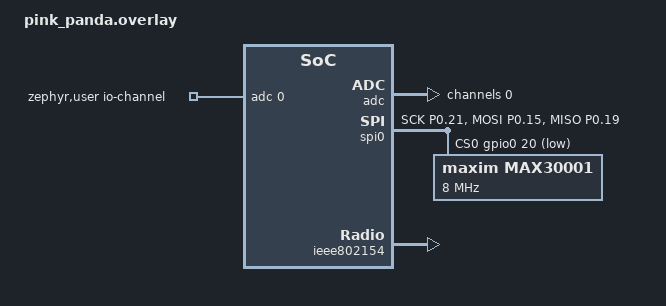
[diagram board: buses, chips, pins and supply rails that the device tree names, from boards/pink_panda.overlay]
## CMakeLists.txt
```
list(APPEND OVERLAY_CONFIG "coap-client.conf")
list(APPEND OVERLAY_CONFIG "openthread.conf")
list(APPEND OVERLAY_CONFIG "secret.conf")

cmake_minimum_required(VERSION 3.20.0)
list(APPEND BOARD_ROOT ${CMAKE_CURRENT_SOURCE_DIR})
find_package(Zephyr REQUIRED HINTS $ENV{ZEPHYR_BASE})

execute_process(COMMAND git describe
                WORKING_DIRECTORY ${CMAKE_CURRENT_SOURCE_DIR}
                OUTPUT_VARIABLE GIT_DESCRIBE
                ERROR_QUIET)
string(STRIP "${GIT_DESCRIBE}" GIT_DESCRIBE)
STRING(REGEX MATCH "[0-9]+\\.[0-9]+\\.[0-9]+"
       VERSION "${GIT_DESCRIBE}")

project(app LANGUAGES C VERSION ${VERSION})


configure_file(app_version.h.in ${CMAKE_BINARY_DIR}/app/include/app_version.h)
zephyr_include_directories(
    ${CMAKE_BINARY_DIR}/app/include
)
target_include_directories(app PRIVATE ${CMAKE_BINARY_DIR}/app/include src)

zephyr_include_directories(
       configuration/${BOARD})

target_sources(app PRIVATE
        src/main.c)
```

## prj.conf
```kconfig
CONFIG_SERIAL=y
CONFIG_HEAP_MEM_POOL_SIZE=2048

CONFIG_PM_DEVICE=y

CONFIG_CAF=y
CONFIG_CAF_BUTTONS=y
CONFIG_CAF_BUTTONS_POLARITY_INVERSED=y

CONFIG_MY_MODULE_BASE_RESET=y
CONFIG_MY_MODULE_BASE_WATCHDOG=y
CONFIG_MY_MODULE_BASE_WATCHDOG_TIMEOUT_SEC=30

#CONFIG_MAIN_STACK_SIZE=4096
#CONFIG_SYSTEM_WORKQUEUE_STACK_SIZE=2048
CONFIG_LOG_BUFFER_SIZE=16384

CONFIG_THREAD_NAME=y
CONFIG_EVENTS=y
CONFIG_CONSOLE=y
CONFIG_UART_CONSOLE=y

CONFIG_ADC=y
CONFIG_SENSOR_LOG_LEVEL_DBG=y
CONFIG_SENSOR_ASYNC_API=y
CONFIG_P4WQ_INIT_STAGE_EARLY=y
CONFIG_THREAD_ANALYZER=y
CONFIG_LOG_SPEED=y
CONFIG_LOG=y
```

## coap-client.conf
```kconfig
CONFIG_COAP=y
CONFIG_COAP_CLIENT=y
CONFIG_COAP_CLIENT_THREAD_PRIORITY=13
CONFIG_COAP_LOG_LEVEL_DBG=y

CONFIG_NET_UDP=y
CONFIG_NET_SOCKETS=y
CONFIG_NET_IPV6_LOG_LEVEL_DBG=y
CONFIG_NET_UDP_LOG_LEVEL_DBG=y
CONFIG_NET_CORE_LOG_LEVEL_DBG=y
CONFIG_POSIX_API=y
```

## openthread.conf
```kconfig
CONFIG_MY_MODULE_BASE_OPENTHREAD=y

CONFIG_OPENTHREAD_CHANNEL=15
CONFIG_OPENTHREAD_NETWORK_NAME="home"
CONFIG_OPENTHREAD_PANID=8768
CONFIG_OPENTHREAD_XPANID="42:24:00:00:00:00:10:00"
CONFIG_OPENTHREAD_MTD=y
##CONFIG_OPENTHREAD_MTD_SED=y
CONFIG_OPENTHREAD_L2_DEBUG=y
CONFIG_OPENTHREAD_L2_LOG_LEVEL_DBG=y

#CONFIG_NET_TCP=y
#CONFIG_NET_SOCKETS=y
##CONFIG_NET_SOCKETS_POLL_MAX=4
#CONFIG_POSIX_API=y
```

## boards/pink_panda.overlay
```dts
#include <zephyr/dt-bindings/sensor/max30001.h>

/ {
	/*
	* In some default configurations within the nRF Connect SDK,
	* e.g. on nRF52840, the chosen zephyr,entropy node is &cryptocell.
	* This devicetree overlay ensures that default is overridden wherever it
	* is set, as this application uses the RNG node for entropy exclusively.
	*/
	chosen {
		zephyr,entropy = &rng;
	};
	zephyr,user {
		io-channels = <&adc 0>;
	};
};
&pinctrl {
	spi0_default: spi0_default {
		group1 {
			psels = <NRF_PSEL(SPIM_SCK, 0, 21)>,
				<NRF_PSEL(SPIM_MOSI, 0, 15)>,
				<NRF_PSEL(SPIM_MISO, 0, 19)>;
		};
	};

	spi0_sleep: spi0_sleep {
		group1 {
			psels = <NRF_PSEL(SPIM_SCK, 0, 21)>,
				<NRF_PSEL(SPIM_MOSI, 0, 15)>,
				<NRF_PSEL(SPIM_MISO, 0, 19)>;
			low-power-enable;
		};
	};
};
&adc {
	status = "okay";
	#address-cells = <1>;
	#size-cells = <0>;
	channel@0 {
		reg = <0>;
		zephyr,gain = "ADC_GAIN_1_2"; /* Max: 3.8V / 10 = 380mV */
		zephyr,reference = "ADC_REF_INTERNAL";		  /* 600mV */
		zephyr,acquisition-time = <ADC_ACQ_TIME_DEFAULT>; /* 10us */
		zephyr,input-positive = <NRF_SAADC_VDDHDIV5>;
		zephyr,resolution = <14>;
		zephyr,oversampling = <8>;
	};
};
&uart1 {
	status = "disabled";
};
&pwm0 {
	status = "disabled";
};
&i2c0 {
	status = "disabled";
};
&spi0 {
	status = "okay";
	pinctrl-0 = <&spi0_default>;
	pinctrl-1 = <&spi0_sleep>;
	pinctrl-names = "default", "sleep";

	cs-gpios = <&gpio0 20 GPIO_ACTIVE_LOW>;

	max30001: max30001@0 {
		compatible = "maxim,max30001";
		reg = <0>;
		spi-max-frequency = <DT_FREQ_M(8)>;
		ecg-gain = <MAX30001_DT_ECG_GAIN_20V_PER_V>;
	};
};
&spi1 {
	status = "disabled";
};
&spi2 {
	status = "disabled";
};
&spi3 {
	status = "disabled";
};
&qspi {
	status = "disabled";
};
&usbd {
	status = "disabled";
};
&gpio0 {
	status = "okay";
};
&gpio1 {
	status = "disabled";
};
&gpiote {
    status = "okay";
};
&ieee802154 {
	status = "okay";
};
```

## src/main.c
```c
#include <app_event_manager.h>
#include <zephyr/drivers/adc.h>
#include <zephyr/drivers/gpio.h>
#include <zephyr/drivers/sensor.h>
#include <zephyr/drivers/sensor_data_types.h>
#include <zephyr/drivers/watchdog.h>
#include <zephyr/kernel.h>
#include <zephyr/net/coap_client.h>
#include <zephyr/net/net_ip.h>
#include <zephyr/net/socket.h>
#include <zephyr/pm/device.h>
#include <zephyr/rtio/rtio.h>
#include <zephyr/debug/thread_analyzer.h>

#define MODULE main
#include <caf/events/module_state_event.h>
#include <caf/events/button_event.h>

#include <zephyr/logging/log.h>
LOG_MODULE_REGISTER(main, LOG_LEVEL_DBG);

#include <app_version.h>
#include <mymodule/base/openthread.h>
#include <mymodule/base/reset.h>
#include <mymodule/base/watchdog.h>


#define BUTTON_PRESS_EVENT	BIT(0)

#define MY_PC_ADDR6		"fd04:2240::1cef"
#define MY_PC_PORT		50000

#define COAP_PORT		5683
#define COAP_PATH_ECG		"ecg"

#define DIRECT_GLOBAL_IP6_ADDRESS \
        { { { 0xfd, 0x04, 0x22, 0x40, 0, 0, 0, 0, 0, 0, 0, 0, 0, 0, 0x1c, 0xef } } }

static K_EVENT_DEFINE(button_events);

SENSOR_DT_READ_IODEV(ecg_iodev, DT_NODELABEL(max30001),
		{SENSOR_CHAN_VOLTAGE, 0});

RTIO_DEFINE(ecg_rtio_ctx, 1, 1);


static void on_coap_response(int16_t result_code, size_t offset,
			     const uint8_t *payload, size_t len,
			     bool last_block, void *user_data)
{
	// int *sockfd = (int *)user_data;

	LOG_INF("CoAP response, result_code=%d, offset=%u, len=%u, last_block=%d",
		result_code, offset, len, last_block);

	if (result_code == COAP_RESPONSE_CODE_CHANGED) {
		LOG_INF("🎉 CoAP succeeded");
	}
	else {
		LOG_ERR("Error during CoAP transfer, result_code=%d", result_code);
	}

	// openthread_request_normal_latency("coap response");

	// zsock_close(*sockfd);
}

static int send_ecg_buffer(struct coap_client *client,
			   int sockfd,
			   struct sockaddr *sa,
			   uint32_t *buf,
			   size_t len)
{
	int ret;
	// int sockfd;
	struct coap_client_request request = {
		.method = COAP_METHOD_POST,
		.confirmable = true,
		.path = COAP_PATH_ECG,
		.fmt = COAP_CONTENT_FORMAT_APP_OCTET_STREAM,
		.payload = (uint8_t *)buf,
		.len = len * sizeof(uint32_t),
		.cb = on_coap_response,
		.options = NULL,
		.num_options = 0,
		// .user_data = &sockfd,
		.user_data = NULL,
	};

	// sockfd = zsock_socket(sa->sa_family, SOCK_DGRAM, 0);
	// if (sockfd < 0) {
	// 	LOG_ERR("Failed to create socket, err %d", errno);
	// 	return -errno;
	// }

	LOG_INF("Starting CoAP request");

	// openthread_request_low_latency("coap request");

	ret = coap_client_req(client, sockfd, sa, &request, NULL);
	if (ret) {
		LOG_ERR("Failed to send CoAP request, err %d", ret);
		// openthread_request_normal_latency("coap request error");
		return ret;
	}

	return 0;
}

int main(void)
{
	const struct device *wdt = DEVICE_DT_GET(DT_NODELABEL(wdt0));
#if defined(CONFIG_APP_SUSPEND_CONSOLE)
	const struct device *cons = DEVICE_DT_GET(DT_CHOSEN(zephyr_console));
#endif
	static const struct adc_dt_spec battery_adc = ADC_DT_SPEC_GET_BY_IDX(DT_PATH(zephyr_user), 0);
	const struct device *ecg = DEVICE_DT_GET(DT_NODELABEL(max30001));
	int ret;
	uint32_t reset_cause;
	int main_wdt_chan_id = -1;
	uint32_t events;
	int16_t adc_buf;
	int32_t val_mv;
	uint32_t network_val_mv;
	uint8_t ecg_buf[32] = {0};
	struct sensor_value value_ecg = {0};
	int i;

	struct adc_sequence sequence = {
		.buffer = &adc_buf,
		/* buffer size in bytes, not number of samples */
		.buffer_size = sizeof(adc_buf),
	};

	ret = watchdog_new_channel(wdt, &main_wdt_chan_id);
	if (ret < 0) {
		LOG_ERR("Could allocate main watchdog channel");
		return ret;
	}

	ret = watchdog_start(wdt);
	if (ret < 0) {
		LOG_ERR("Could allocate start watchdog");
		return ret;
	}

	LOG_INF("\n\n🚀 MAIN START (%s) 🚀\n", APP_VERSION_FULL);

	reset_cause = show_and_clear_reset_cause();
	
	if (app_event_manager_init()) {
		LOG_ERR("Event manager not initialized");
	} else {
		module_set_state(MODULE_STATE_READY);
	}

	if (!device_is_ready(battery_adc.dev)) {
		LOG_ERR("ADC controller device not ready");
		return -ENODEV;
	}

	if (!device_is_ready(ecg)) {
		LOG_ERR("Device \"%s\" is not ready",
		       ecg->name);
		return -ENODEV;
	}

	ret = adc_channel_setup_dt(&battery_adc);
	if (ret < 0) {
		LOG_ERR("Could not setup battery ADC (%d)", ret);
		return ret;
	}



	ret = openthread_my_start();
	if (ret < 0) {
		LOG_ERR("Could not start openthread");
		return ret;
	}

	LOG_INF("💤 waiting for openthread to be ready");
	openthread_wait(OT_ROLE_SET | 
			OT_ROUTABLE_ADDR_SET | 
			OT_HAS_NEIGHBORS);



	LOG_INF("🆗 initialized");

#if defined(CONFIG_APP_SUSPEND_CONSOLE)
	ret = pm_device_action_run(cons, PM_DEVICE_ACTION_SUSPEND);
	if (ret < 0) {
		LOG_ERR("Could not suspend the console");
		return ret;
	}
#endif

	thread_analyzer_print(0);


	// struct sockaddr_in6 *broker6 = (struct sockaddr_in6 *)&broker;

	// broker6->sin6_family = AF_INET6;
	// broker6->sin6_port = htons(CONFIG_MY_MODULE_BASE_HA_MQTT_SERVER_PORT);
	// zsock_inet_pton(AF_INET6, CONFIG_MY_MODULE_BASE_HA_MQTT_SERVER_ADDR, &broker6->sin_addr);


	k_sleep(K_MSEC(50));
	k_sleep(K_SECONDS(1));

	// struct sockaddr_in6 serv_addr;
	// int sockfd = socket(AF_INET6, SOCK_STREAM, IPPROTO_TCP);

	// serv_addr.sin6_family = AF_INET6;
	// // serv_addr.sin6_port = htons(MY_PC_PORT);
	// serv_addr.sin6_port = htons(COAP_PORT);

	// ret = inet_pton(AF_INET6, MY_PC_ADDR6, &serv_addr.sin6_addr);
	// if (ret <= 0) {
	// 	LOG_ERR("Invalid address / Address not supported");
	// 	return ret;
	// }

	// ret = connect(sockfd, (struct sockaddr *)&serv_addr, sizeof(serv_addr));
	// if (ret < 0) {
	// 	LOG_ERR("Connect failed");
	// 	return ret;
	// }





	static struct coap_client coap_client;
	struct sockaddr_in6 sockaddr6 = {
		.sin6_family = AF_INET6,
		.sin6_port = htons(COAP_PORT),
		// .sin6_addr = DIRECT_GLOBAL_IP6_ADDRESS,
	};
	int sockfd;

	ret = inet_pton(AF_INET6, MY_PC_ADDR6, &sockaddr6.sin6_addr);
	if (ret <= 0) {
		LOG_ERR("Invalid address / Address not supported");
		return ret;
	}

	ret = coap_client_init(&coap_client, NULL);
	if (ret) {
		LOG_ERR("Failed to init coap client, err %d", ret);
		return ret;
	}

	sockfd = zsock_socket(sockaddr6.sin6_family, SOCK_DGRAM, 0);
	if (sockfd < 0) {
		LOG_ERR("Failed to create socket, err %d", errno);
		return -errno;
	}

	// ret = zsock_setsockopt(sockfd,
	// 		       IPPROTO_IPV6,
	// 		       IPV6_MULTICAST_HOPS,
	// 		       &mcast_hops,
        //                        sizeof(mcast_hops));




	// for (i = 0; i<10; i++) {
	// 	ret = sensor_sample_fetch(ecg);
	// 	if (ret) {
	// 		printk("sensor_sample_fetch failed ret %d\n", ret);
	// 		return 0;
	// 	}

	// 	ret = sensor_channel_get(ecg, SENSOR_CHAN_VOLTAGE, &value_ecg);
	// 	LOG_INF("🫀 %f", sensor_value_to_double(&value_ecg));

	// 	// k_sleep(K_MSEC(8));
	// }


	struct sensor_q31_data ecg_data = {0};
	struct sensor_decode_context ecg_decoder = SENSOR_DECODE_CONTEXT_INIT(
		SENSOR_DECODER_DT_GET(DT_NODELABEL(max30001)),
		ecg_buf, SENSOR_CHAN_VOLTAGE, 0);
	uint32_t network_ecg_voltage;
	uint32_t network_ecg_buffer[32];
	size_t buffer_len = 0;


	for (i = 0; i<1000; i++) {
		ret = sensor_read(&ecg_iodev, &ecg_rtio_ctx,
				  ecg_buf, sizeof(ecg_buf));
		if (ret != 0) {
			LOG_ERR("%s: sensor_read() failed: %d\n", ecg->name, ret);
			return ret;
		}

		// LOG_INF("🫀 %d", events);
		// LOG_HEXDUMP_INF(ecg_buf, sizeof(ecg_buf), "");

		ret = sensor_decode(&ecg_decoder, &ecg_data, 1);
		if (ret == -ENODATA) {
			send_ecg_buffer(&coap_client,
					sockfd,
					(struct sockaddr *)&sockaddr6,
					// (struct sockaddr *)&serv_addr,
					network_ecg_buffer,
					buffer_len);

			buffer_len = 0;



			// break;



			wdt_feed(wdt, main_wdt_chan_id);
			k_msleep(150);
			continue;
		}
		if (ret < 0) {
			LOG_ERR("%s: sensor_decode() failed: %d\n",
				ecg->name, ret);
			break;
		}

		LOG_INF("🫀 Decoded ECG %" PRIsensor_q31_data,
		       PRIsensor_q31_data_arg(ecg_data, 0));

		network_ecg_buffer[buffer_len] = htonl(ecg_data.readings[0].voltage);
		buffer_len += 1;

		// network_ecg_voltage = htonl(ecg_data.readings[0].voltage);
		// ret = send(sockfd, &network_ecg_voltage,
		// 	   sizeof(network_ecg_voltage), 0);
		// if (ret < 0) {
		// 	LOG_ERR("Could not send (%d)", ret);
		// }

		ecg_decoder.fit = 0;
		wdt_feed(wdt, main_wdt_chan_id);
		k_msleep(1);
	}




	LOG_INF("┌──────────────────────────────────────────────────────────┐");
	LOG_INF("│ Entering main loop                                       │");
	LOG_INF("└──────────────────────────────────────────────────────────┘");

	while (1) {
		LOG_INF("💤 waiting for events");
		events = k_event_wait(&button_events,
				(BUTTON_PRESS_EVENT),
				true,
				K_SECONDS(CONFIG_APP_MAIN_LOOP_PERIOD_SEC));

		LOG_INF("⏰ events: %08x", events);

		if (events & BUTTON_PRESS_EVENT) {
			LOG_INF("handling button press event");
		}


		LOG_INF("ADC reading:");

		adc_sequence_init_dt(&battery_adc, &sequence);
		ret = adc_read(battery_adc.dev, &sequence);
		if (ret < 0) {
			LOG_ERR("Could not read (%d)", ret);
			continue;
		}

		LOG_INF("%s, channel %d: %d",
		       battery_adc.dev->name,
		       battery_adc.channel_id,
		       adc_buf);

		val_mv = adc_buf * 5; // Divided by 5 at source (NRF_SAADC_VDDHDIV5)
		ret = adc_raw_to_millivolts_dt(&battery_adc,
					       &val_mv);
		if (ret < 0) {
			LOG_ERR("Value in mV not available");
		} else {
			LOG_INF("🔋 = %"PRId32" mV", val_mv);
		}

		// network_val_mv = htonl(val_mv);
		// ret = send(sockfd, &network_val_mv, sizeof(network_val_mv), 0);
		// if (ret < 0) {
		// 	LOG_ERR("Could not send (%d)", ret);
		// }

		LOG_INF("🦴 feed watchdog");
		wdt_feed(wdt, main_wdt_chan_id);
	}

	return 0;
}

static bool event_handler(const struct app_event_header *eh)
{
	const struct button_event *evt;

	if (is_button_event(eh)) {
		evt = cast_button_event(eh);

		if (evt->pressed) {
			LOG_INF("🛎️  Button pressed");
			k_event_post(&button_events, BUTTON_PRESS_EVENT);
		}
	}

	return true;
}

APP_EVENT_LISTENER(MODULE, event_handler);
APP_EVENT_SUBSCRIBE(MODULE, button_event);
```
